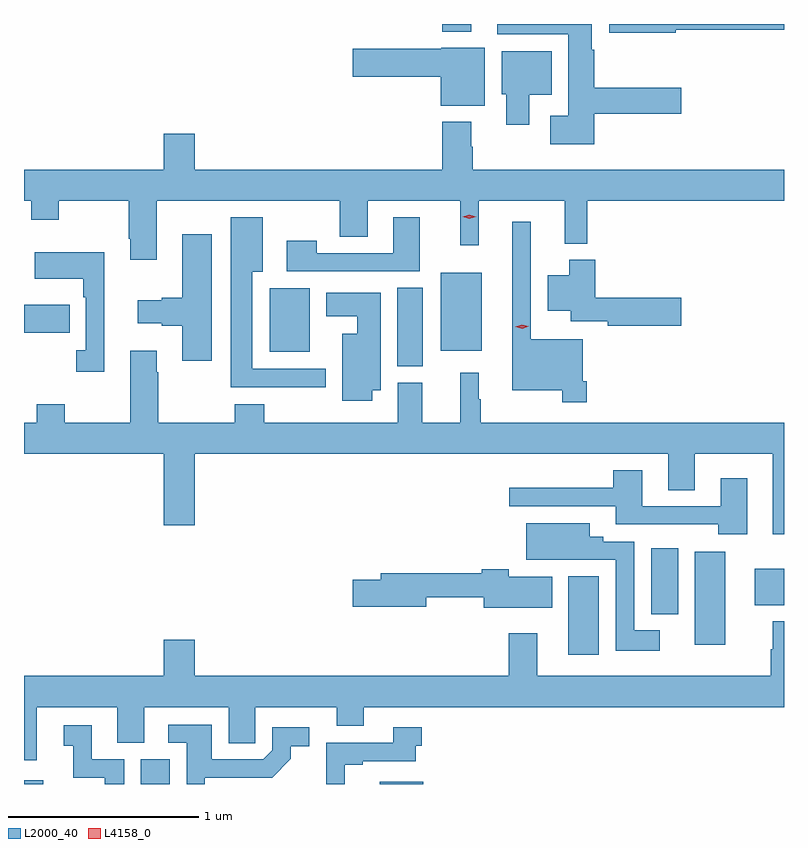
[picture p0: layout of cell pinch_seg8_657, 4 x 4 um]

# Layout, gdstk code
import gdstk
lib = gdstk.Library(unit=1e-6, precision=1e-09)
def R(c, l, rs):  # rectangles x0, y0, x1, y1
    for r in rs: c.add(gdstk.rectangle(r[:2], r[2:], *l))
def P(c, l, *ps):  # polygons
    for p in ps: c.add(gdstk.Polygon(p, *l))
L2000_40 = (2000, 40)
L4158_0 = (4158, 0)

pinch_seg8_657 = lib.new_cell('pinch_seg8_657')
R(pinch_seg8_657, L2000_40, [(248.189,1101.443,248.29,1101.463), (248.804,1101.443,248.956,1101.574), (250.061,1101.443,250.291,1101.454), (251.054,1102.122,251.215,1102.537), (251.72,1102.176,251.881,1102.666), (251.489,1102.337,251.632,1102.684), (252.035,1102.385,252.189,1102.576), (250.154,1103.641,250.288,1104.056), (249.482,1103.717,249.694,1104.052), (250.382,1103.723,250.597,1104.133), (248.189,1103.818,248.429,1103.965), (250.391,1105.403,250.543,1105.443)])
P(pinch_seg8_657, L2000_40, [(251.62,1105.414),(252.189,1105.414),(252.189,1105.443),(251.268,1105.443),(251.268,1105.396),(251.62,1105.396)],
  [(251.189,1104.97),(251.647,1104.97),(251.647,1105.107),(251.189,1105.107),(251.189,1105.307),(251.176,1105.307),(251.176,1105.443),(250.679,1105.443),(250.679,1105.388),(251.054,1105.388),(251.054,1104.961),(250.959,1104.961),(250.959,1104.809),(251.189,1104.809)],
  [(250.615,1105.318),(250.386,1105.318),(250.386,1105.313),(249.918,1105.313),(249.918,1105.166),(250.382,1105.166),(250.382,1105.013),(250.615,1105.013)],
  [(250.849,1105.07),(250.966,1105.07),(250.966,1105.3),(250.703,1105.3),(250.703,1105.074),(250.727,1105.074),(250.727,1104.912),(250.849,1104.912)],
  [(248.887,1104.512),(249.85,1104.512),(249.85,1104.322),(249.997,1104.322),(249.997,1104.512),(250.484,1104.512),(250.484,1104.279),(250.583,1104.279),(250.583,1104.512),(251.036,1104.512),(251.036,1104.287),(251.153,1104.287),(251.153,1104.512),(252.189,1104.512),(252.189,1104.676),(250.551,1104.676),(250.551,1104.797),(250.543,1104.797),(250.543,1104.928),(250.391,1104.928),(250.391,1104.676),(249.088,1104.676),(249.088,1104.865),(248.924,1104.865),(248.924,1104.676),(248.189,1104.676),(248.189,1104.512),(248.226,1104.512),(248.226,1104.413),(248.373,1104.413),(248.373,1104.512),(248.74,1104.512),(248.74,1104.313),(248.747,1104.313),(248.747,1104.201),(248.887,1104.201)],
  [(249.778,1103.628),(249.391,1103.628),(249.391,1104.14),(249.445,1104.14),(249.445,1104.427),(249.278,1104.427),(249.278,1103.531),(249.778,1103.531)],
  [(250.273,1104.427),(250.133,1104.427),(250.133,1104.237),(249.729,1104.237),(249.729,1104.301),(249.573,1104.301),(249.573,1104.141),(250.273,1104.141)],
  [(251.15,1103.563),(251.13,1103.563),(251.13,1103.785),(250.857,1103.785),(250.857,1104.403),(250.76,1104.403),(250.76,1103.516),(251.022,1103.516),(251.022,1103.451),(251.15,1103.451)],
  [(249.178,1104.337),(249.023,1104.337),(249.023,1104.002),(248.913,1104.002),(248.913,1103.989),(248.787,1103.989),(248.787,1103.867),(248.913,1103.867),(248.913,1103.855),(249.023,1103.855),(249.023,1103.67),(249.178,1103.67)],
  [(248.611,1104.241),(248.245,1104.241),(248.245,1104.101),(248.502,1104.101),(248.502,1104.005),(248.514,1104.005),(248.514,1103.726),(248.463,1103.726),(248.463,1103.613),(248.611,1103.613)],
  [(251.647,1104.002),(251.195,1104.002),(251.195,1104.202),(251.06,1104.202),(251.06,1104.121),(250.946,1104.121),(250.946,1103.933),(251.066,1103.933),(251.066,1103.879),(251.262,1103.879),(251.262,1103.855),(251.647,1103.855)],
  [(250.021,1103.516),(250.066,1103.516),(250.066,1104.028),(249.779,1104.028),(249.779,1103.906),(249.944,1103.906),(249.944,1103.812),(249.863,1103.812),(249.863,1103.46),(250.021,1103.46)],
  [(252.189,1103.344),(250.594,1103.344),(250.594,1103.468),(250.582,1103.468),(250.582,1103.608),(250.484,1103.608),(250.484,1103.344),(250.285,1103.344),(250.285,1103.556),(250.157,1103.556),(250.157,1103.344),(249.453,1103.344),(249.453,1103.443),(249.298,1103.443),(249.298,1103.344),(248.895,1103.344),(248.895,1103.609),(248.887,1103.609),(248.887,1103.722),(248.747,1103.722),(248.747,1103.344),(248.403,1103.344),(248.403,1103.443),(248.255,1103.443),(248.255,1103.344),(248.189,1103.344),(248.189,1103.18),(248.924,1103.18),(248.924,1102.806),(249.088,1102.806),(249.088,1103.18),(251.579,1103.18),(251.579,1102.99),(251.719,1102.99),(251.719,1103.18),(252.131,1103.18),(252.131,1102.758),(252.189,1102.758)],
  [(251.995,1103.053),(251.855,1103.053),(251.855,1102.905),(251.443,1102.905),(251.443,1103.095),(251.291,1103.095),(251.291,1103.002),(250.743,1103.002),(250.743,1102.905),(251.303,1102.905),(251.303,1102.809),(251.843,1102.809),(251.843,1102.758),(251.995,1102.758)],
  [(251.536,1102.252),(251.4,1102.252),(251.4,1102.719),(251.238,1102.719),(251.238,1102.744),(251.167,1102.744),(251.167,1102.816),(250.832,1102.816),(250.832,1102.622),(251.058,1102.622),(251.058,1102.623),(251.304,1102.623),(251.304,1102.145),(251.536,1102.145)],
  [(250.969,1102.534),(250.74,1102.534),(250.74,1102.572),(250.598,1102.572),(250.598,1102.553),(250.067,1102.553),(250.067,1102.517),(249.918,1102.517),(249.918,1102.375),(250.306,1102.375),(250.306,1102.425),(250.61,1102.425),(250.61,1102.37),(250.969,1102.37)],
  [(248.257,1101.848),(248.681,1101.848),(248.681,1101.659),(248.821,1101.659),(248.821,1101.848),(249.266,1101.848),(249.266,1101.658),(249.405,1101.658),(249.405,1101.848),(249.836,1101.848),(249.836,1101.749),(249.976,1101.749),(249.976,1101.848),(252.189,1101.848),(252.189,1102.3),(252.131,1102.3),(252.131,1102.151),(252.119,1102.151),(252.119,1102.012),(250.891,1102.012),(250.891,1102.237),(250.739,1102.237),(250.739,1102.012),(249.088,1102.012),(249.088,1102.201),(248.924,1102.201),(248.924,1102.012),(248.189,1102.012),(248.189,1101.567),(248.257,1101.567)],
  [(249.141,1101.477),(249.495,1101.477),(249.593,1101.575),(249.593,1101.643),(249.691,1101.643),(249.691,1101.741),(249.495,1101.741),(249.495,1101.621),(249.447,1101.573),(249.178,1101.573),(249.178,1101.756),(248.949,1101.756),(248.949,1101.66),(249.045,1101.66),(249.045,1101.443),(249.141,1101.443)],
  [(248.716,1101.573),(248.545,1101.573),(248.545,1101.751),(248.397,1101.751),(248.397,1101.645),(248.447,1101.645),(248.447,1101.477),(248.615,1101.477),(248.615,1101.443),(248.716,1101.443)],
  [(249.878,1101.544),(249.973,1101.544),(249.973,1101.564),(250.25,1101.564),(250.25,1101.644),(250.282,1101.644),(250.282,1101.741),(250.133,1101.741),(250.133,1101.66),(249.779,1101.66),(249.779,1101.443),(249.878,1101.443)])
P(pinch_seg8_657, L4158_0, [(250.811,1103.84),(250.775,1103.849),(250.775,1103.849),(250.775,1103.849),(250.81,1103.86),(250.846,1103.852),(250.846,1103.852),(250.846,1103.851)],
  [(250.533,1104.419),(250.497,1104.428),(250.497,1104.429),(250.497,1104.429),(250.533,1104.439),(250.569,1104.429),(250.569,1104.429),(250.569,1104.428)])

lib.write_gds('pinch_seg8_657.gds')
